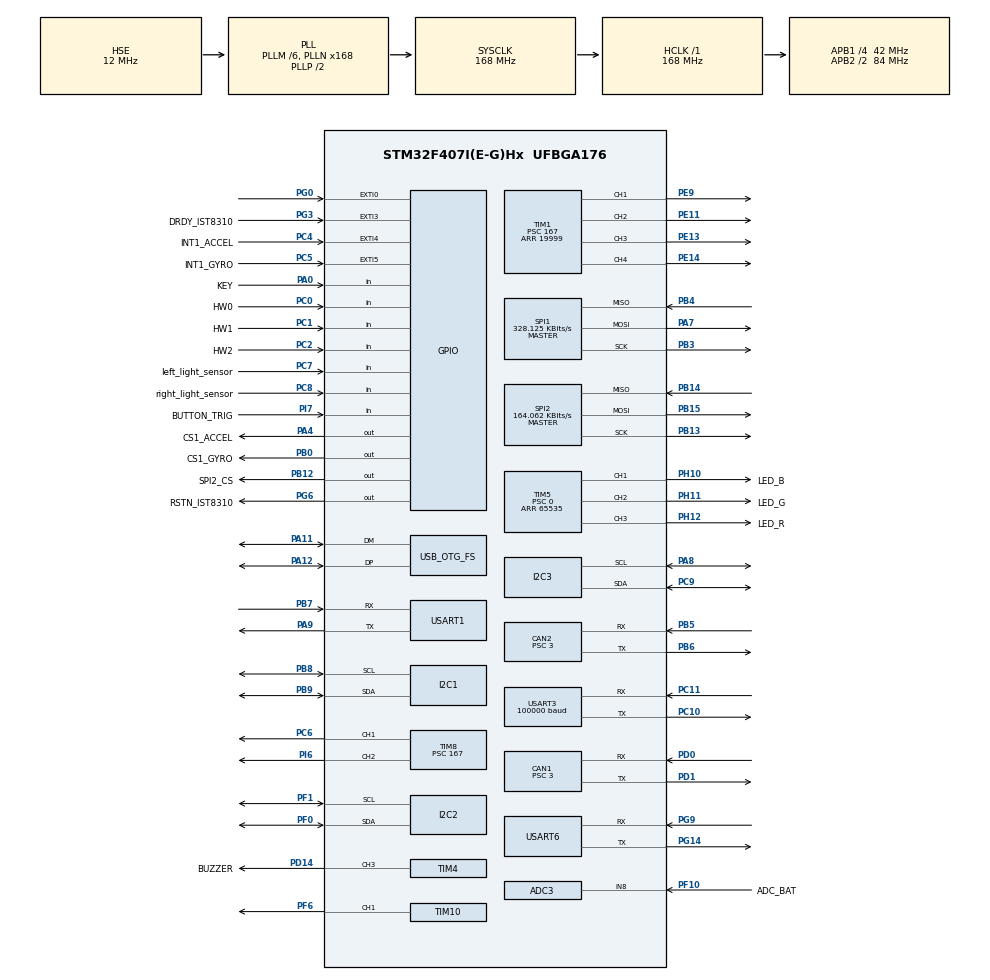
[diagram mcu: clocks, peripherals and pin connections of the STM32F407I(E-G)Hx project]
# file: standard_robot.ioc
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ADC1.Channel-0\#ChannelRegularConversion=ADC_CHANNEL_TEMPSENSOR
ADC1.ClockPrescaler=ADC_CLOCK_SYNC_PCLK_DIV6
ADC1.NbrOfConversionFlag=1
ADC1.Rank-0\#ChannelRegularConversion=1
ADC1.SamplingTime-0\#ChannelRegularConversion=ADC_SAMPLETIME_3CYCLES
ADC1.master=1
ADC3.Channel-0\#ChannelRegularConversion=ADC_CHANNEL_8
ADC3.ClockPrescaler=ADC_CLOCK_SYNC_PCLK_DIV6
ADC3.NbrOfConversionFlag=1
ADC3.Rank-0\#ChannelRegularConversion=1
ADC3.SamplingTime-0\#ChannelRegularConversion=ADC_SAMPLETIME_3CYCLES
CAN1.BS1=CAN_BS1_10TQ
CAN1.BS2=CAN_BS2_3TQ
CAN1.CalculateTimeQuantum=71.42857142857143
CAN1.Prescaler=3
CAN2.BS1=CAN_BS1_10TQ
CAN2.BS2=CAN_BS2_3TQ
CAN2.CalculateTimeQuantum=71.42857142857143
CAN2.Prescaler=3
Dma.I2C2_TX.2.Direction=DMA_MEMORY_TO_PERIPH
Dma.I2C2_TX.2.FIFOMode=DMA_FIFOMODE_DISABLE
Dma.I2C2_TX.2.Instance=DMA1_Stream7
Dma.I2C2_TX.2.MemDataAlignment=DMA_MDATAALIGN_BYTE
Dma.I2C2_TX.2.MemInc=DMA_MINC_ENABLE
Dma.I2C2_TX.2.Mode=DMA_NORMAL
Dma.I2C2_TX.2.PeriphDataAlignment=DMA_PDATAALIGN_BYTE
Dma.I2C2_TX.2.PeriphInc=DMA_PINC_DISABLE
Dma.I2C2_TX.2.Priority=DMA_PRIORITY_HIGH
Dma.Request0=SPI1_RX
Dma.Request1=SPI1_TX
Dma.Request2=I2C2_TX
Dma.Request3=USART3_RX
Dma.Request4=USART6_RX
Dma.Request5=USART6_TX
Dma.Request6=USART1_TX
Dma.Request7=USART1_RX
Dma.SPI1_RX.0.Direction=DMA_PERIPH_TO_MEMORY
Dma.SPI1_RX.0.FIFOMode=DMA_FIFOMODE_DISABLE
Dma.SPI1_RX.0.Instance=DMA2_Stream2
Dma.SPI1_RX.0.MemDataAlignment=DMA_MDATAALIGN_BYTE
Dma.SPI1_RX.0.MemInc=DMA_MINC_ENABLE
Dma.SPI1_RX.0.Mode=DMA_NORMAL
Dma.SPI1_RX.0.PeriphDataAlignment=DMA_PDATAALIGN_BYTE
Dma.SPI1_RX.0.PeriphInc=DMA_PINC_DISABLE
Dma.SPI1_RX.0.Priority=DMA_PRIORITY_VERY_HIGH
Dma.SPI1_TX.1.Direction=DMA_MEMORY_TO_PERIPH
Dma.SPI1_TX.1.FIFOMode=DMA_FIFOMODE_DISABLE
Dma.SPI1_TX.1.Instance=DMA2_Stream3
Dma.SPI1_TX.1.MemDataAlignment=DMA_MDATAALIGN_BYTE
Dma.SPI1_TX.1.MemInc=DMA_MINC_ENABLE
Dma.SPI1_TX.1.Mode=DMA_NORMAL
Dma.SPI1_TX.1.PeriphDataAlignment=DMA_PDATAALIGN_BYTE
Dma.SPI1_TX.1.PeriphInc=DMA_PINC_DISABLE
Dma.SPI1_TX.1.Priority=DMA_PRIORITY_HIGH
Dma.USART1_RX.7.Direction=DMA_PERIPH_TO_MEMORY
Dma.USART1_RX.7.FIFOMode=DMA_FIFOMODE_DISABLE
Dma.USART1_RX.7.Instance=DMA2_Stream5
Dma.USART1_RX.7.MemDataAlignment=DMA_MDATAALIGN_BYTE
Dma.USART1_RX.7.MemInc=DMA_MINC_ENABLE
Dma.USART1_RX.7.Mode=DMA_NORMAL
Dma.USART1_RX.7.PeriphDataAlignment=DMA_PDATAALIGN_BYTE
Dma.USART1_RX.7.PeriphInc=DMA_PINC_DISABLE
Dma.USART1_RX.7.Priority=DMA_PRIORITY_VERY_HIGH
Dma.USART1_TX.6.Direction=DMA_MEMORY_TO_PERIPH
Dma.USART1_TX.6.FIFOMode=DMA_FIFOMODE_DISABLE
Dma.USART1_TX.6.Instance=DMA2_Stream7
Dma.USART1_TX.6.MemDataAlignment=DMA_MDATAALIGN_BYTE
Dma.USART1_TX.6.MemInc=DMA_MINC_ENABLE
Dma.USART1_TX.6.Mode=DMA_NORMAL
Dma.USART1_TX.6.PeriphDataAlignment=DMA_PDATAALIGN_BYTE
Dma.USART1_TX.6.PeriphInc=DMA_PINC_DISABLE
Dma.USART1_TX.6.Priority=DMA_PRIORITY_MEDIUM
Dma.USART3_RX.3.Direction=DMA_PERIPH_TO_MEMORY
Dma.USART3_RX.3.FIFOMode=DMA_FIFOMODE_DISABLE
Dma.USART3_RX.3.Instance=DMA1_Stream1
Dma.USART3_RX.3.MemDataAlignment=DMA_MDATAALIGN_BYTE
Dma.USART3_RX.3.MemInc=DMA_MINC_ENABLE
Dma.USART3_RX.3.Mode=DMA_NORMAL
Dma.USART3_RX.3.PeriphDataAlignment=DMA_PDATAALIGN_BYTE
Dma.USART3_RX.3.PeriphInc=DMA_PINC_DISABLE
Dma.USART3_RX.3.Priority=DMA_PRIORITY_HIGH
Dma.USART6_RX.4.Direction=DMA_PERIPH_TO_MEMORY
Dma.USART6_RX.4.FIFOMode=DMA_FIFOMODE_DISABLE
Dma.USART6_RX.4.Instance=DMA2_Stream1
Dma.USART6_RX.4.MemDataAlignment=DMA_MDATAALIGN_BYTE
Dma.USART6_RX.4.MemInc=DMA_MINC_ENABLE
Dma.USART6_RX.4.Mode=DMA_NORMAL
Dma.USART6_RX.4.PeriphDataAlignment=DMA_PDATAALIGN_BYTE
Dma.USART6_RX.4.PeriphInc=DMA_PINC_DISABLE
Dma.USART6_RX.4.Priority=DMA_PRIORITY_HIGH
Dma.USART6_TX.5.Direction=DMA_MEMORY_TO_PERIPH
Dma.USART6_TX.5.FIFOMode=DMA_FIFOMODE_DISABLE
Dma.USART6_TX.5.Instance=DMA2_Stream6
Dma.USART6_TX.5.MemDataAlignment=DMA_MDATAALIGN_BYTE
Dma.USART6_TX.5.MemInc=DMA_MINC_ENABLE
Dma.USART6_TX.5.Mode=DMA_NORMAL
Dma.USART6_TX.5.PeriphDataAlignment=DMA_PDATAALIGN_BYTE
Dma.USART6_TX.5.PeriphInc=DMA_PINC_DISABLE
Dma.USART6_TX.5.Priority=DMA_PRIORITY_MEDIUM
FREERTOS.INCLUDE_eTaskGetState=1
FREERTOS.INCLUDE_pcTaskGetTaskName=1
FREERTOS.INCLUDE_uxTaskGetStackHighWaterMark=1
FREERTOS.INCLUDE_vTaskCleanUpResources=1
FREERTOS.INCLUDE_vTaskDelayUntil=1
FREERTOS.INCLUDE_xEventGroupSetBitFromISR=1
FREERTOS.INCLUDE_xQueueGetMutexHolder=1
FREERTOS.INCLUDE_xSemaphoreGetMutexHolder=1
FREERTOS.INCLUDE_xTaskAbortDelay=1
FREERTOS.INCLUDE_xTaskGetCurrentTaskHandle=1
FREERTOS.INCLUDE_xTaskGetHandle=1
FREERTOS.INCLUDE_xTimerPendFunctionCall=1
FREERTOS.Tasks01=test,24,128,test_task,As weak,NULL,Dynamic,NULL,NULL
FREERTOS.configTOTAL_HEAP_SIZE=24576
I2C1.I2C_Mode=I2C_Fast
I2C2.I2C_Mode=I2C_Fast
I2C3.I2C_Mode=I2C_Fast
Mcu.Family=STM32F4
Mcu.Name=STM32F407I(E-G)Hx
Mcu.Package=UFBGA176
NVIC.CAN1_RX0_IRQn=true\:6\:0\:true\:false\:true\:true\:true\:true
NVIC.CAN2_RX0_IRQn=true\:6\:0\:true\:false\:true\:true\:true\:true
NVIC.DMA1_Stream1_IRQn=true\:5\:0\:true\:false\:false\:true\:false\:false
NVIC.DMA1_Stream7_IRQn=true\:5\:0\:true\:false\:false\:true\:false\:true
NVIC.DMA2_Stream1_IRQn=true\:5\:0\:true\:false\:true\:true\:false\:true
NVIC.DMA2_Stream2_IRQn=true\:5\:0\:true\:false\:false\:true\:false\:true
NVIC.DMA2_Stream3_IRQn=true\:5\:0\:true\:false\:false\:true\:false\:true
NVIC.DMA2_Stream5_IRQn=true\:5\:0\:false\:false\:true\:true\:false\:true
NVIC.DMA2_Stream6_IRQn=true\:5\:0\:true\:false\:true\:true\:false\:true
NVIC.DMA2_Stream7_IRQn=true\:5\:0\:true\:false\:true\:true\:false\:true
NVIC.EXTI0_IRQn=true\:6\:0\:true\:false\:true\:true\:true\:true
NVIC.EXTI3_IRQn=true\:5\:0\:true\:false\:true\:true\:true\:true
NVIC.EXTI4_IRQn=true\:5\:0\:true\:false\:true\:true\:true\:true
NVIC.EXTI9_5_IRQn=true\:5\:0\:true\:false\:true\:true\:true\:true
NVIC.OTG_FS_IRQn=true\:5\:0\:false\:false\:true\:true\:false\:true
NVIC.PriorityGroup=NVIC_PRIORITYGROUP_4
NVIC.USART1_IRQn=true\:5\:0\:false\:false\:true\:true\:true\:true
NVIC.USART3_IRQn=true\:4\:0\:true\:false\:false\:false\:true\:true
NVIC.USART6_IRQn=true\:5\:0\:true\:false\:false\:true\:true\:true
PA0-WKUP.GPIO_Label=KEY
PA0-WKUP.GPIO_PuPd=GPIO_PULLUP
PA0-WKUP.Signal=GPIO_Input
PA11.Mode=Device_Only
PA11.Signal=USB_OTG_FS_DM
PA12.Mode=Device_Only
PA12.Signal=USB_OTG_FS_DP
PA13.Mode=Serial_Wire
PA13.Signal=SYS_JTMS-SWDIO
PA14.Mode=Serial_Wire
PA14.Signal=SYS_JTCK-SWCLK
PA4.GPIO_Label=CS1_ACCEL
PA4.GPIO_PuPd=GPIO_PULLUP
PA4.GPIO_Speed=GPIO_SPEED_FREQ_HIGH
PA4.PinState=GPIO_PIN_SET
PA4.Signal=GPIO_Output
PA7.GPIO_PuPd=GPIO_PULLUP
PA7.Mode=Full_Duplex_Master
PA7.Signal=SPI1_MOSI
PA8.Mode=I2C
PA8.Signal=I2C3_SCL
PA9.Mode=Asynchronous
PA9.Signal=USART1_TX
PB0.GPIO_Label=CS1_GYRO
PB0.GPIO_PuPd=GPIO_PULLUP
PB0.GPIO_Speed=GPIO_SPEED_FREQ_HIGH
PB0.PinState=GPIO_PIN_SET
PB0.Signal=GPIO_Output
PB12.GPIO_Label=SPI2_CS
PB12.GPIO_PuPd=GPIO_PULLUP
PB12.GPIO_Speed=GPIO_SPEED_FREQ_MEDIUM
PB12.PinState=GPIO_PIN_SET
PB12.Signal=GPIO_Output
PB13.GPIO_PuPd=GPIO_PULLUP
PB13.Mode=Full_Duplex_Master
PB13.Signal=SPI2_SCK
PB14.GPIO_PuPd=GPIO_PULLUP
PB14.Mode=Full_Duplex_Master
PB14.Signal=SPI2_MISO
PB15.GPIO_PuPd=GPIO_PULLUP
PB15.Mode=Full_Duplex_Master
PB15.Signal=SPI2_MOSI
PB3.GPIO_PuPd=GPIO_PULLUP
PB3.Mode=Full_Duplex_Master
PB3.Signal=SPI1_SCK
PB4.GPIO_PuPd=GPIO_PULLUP
PB4.Mode=Full_Duplex_Master
PB4.Signal=SPI1_MISO
PB5.Mode=Slave
PB5.Signal=CAN2_RX
PB6.Mode=Slave
PB6.Signal=CAN2_TX
PB7.Mode=Asynchronous
PB7.Signal=USART1_RX
PB8.Mode=I2C
PB8.Signal=I2C1_SCL
PB9.Mode=I2C
PB9.Signal=I2C1_SDA
PC0.GPIO_Label=HW0
PC0.Signal=GPIO_Input
PC1.GPIO_Label=HW1
PC1.Signal=GPIO_Input
PC10.Mode=Asynchronous
PC10.Signal=USART3_TX
PC11.Mode=Asynchronous
PC11.Signal=USART3_RX
PC2.GPIO_Label=HW2
PC2.Signal=GPIO_Input
PC4.GPIO_Label=INT1_ACCEL
PC4.GPIO_ModeDefaultEXTI=GPIO_MODE_IT_FALLING
PC4.GPIO_PuPd=GPIO_PULLUP
PC4.Signal=GPXTI4
PC5.GPIO_Label=INT1_GYRO
PC5.GPIO_ModeDefaultEXTI=GPIO_MODE_IT_FALLING
PC5.GPIO_PuPd=GPIO_PULLUP
PC5.Signal=GPXTI5
PC6.GPIO_PuPd=GPIO_PULLUP
PC6.GPIO_Speed=GPIO_SPEED_FREQ_HIGH
PC6.Signal=S_TIM8_CH1
PC7.GPIO_Label=left_light_sensor
PC7.Signal=GPIO_Input
PC8.GPIO_Label=right_light_sensor
PC8.Signal=GPIO_Input
PC9.Mode=I2C
PC9.Signal=I2C3_SDA
PD0.Mode=Master
PD0.Signal=CAN1_RX
PD1.Mode=Master
PD1.Signal=CAN1_TX
PD14.GPIO_Label=BUZZER
PD14.GPIO_PuPd=GPIO_PULLUP
PD14.GPIO_Speed=GPIO_SPEED_FREQ_VERY_HIGH
PD14.Signal=S_TIM4_CH3
PE11.GPIO_PuPd=GPIO_PULLUP
PE11.GPIO_Speed=GPIO_SPEED_FREQ_HIGH
PE11.Signal=S_TIM1_CH2
PE13.GPIO_PuPd=GPIO_PULLUP
PE13.GPIO_Speed=GPIO_SPEED_FREQ_HIGH
PE13.Signal=S_TIM1_CH3
PE14.GPIO_PuPd=GPIO_PULLUP
PE14.GPIO_Speed=GPIO_SPEED_FREQ_HIGH
PE14.Signal=S_TIM1_CH4
PE9.GPIO_PuPd=GPIO_PULLUP
PE9.GPIO_Speed=GPIO_SPEED_FREQ_HIGH
PE9.Signal=S_TIM1_CH1
PF0.Mode=I2C
PF0.Signal=I2C2_SDA
PF1.Mode=I2C
PF1.Signal=I2C2_SCL
PF10.GPIO_Label=ADC_BAT
PF10.Mode=IN8
PF10.Signal=ADC3_IN8
PF6.GPIO_PuPd=GPIO_PULLUP
PF6.GPIO_Speed=GPIO_SPEED_FREQ_HIGH
PF6.Signal=S_TIM10_CH1
PG0.GPIO_ModeDefaultEXTI=GPIO_MODE_IT_FALLING
PG0.GPIO_PuPd=GPIO_PULLUP
PG0.Signal=GPXTI0
PG14.Mode=Asynchronous
PG14.Signal=USART6_TX
PG3.GPIO_Label=DRDY_IST8310
PG3.GPIO_ModeDefaultEXTI=GPIO_MODE_IT_FALLING
PG3.GPIO_PuPd=GPIO_PULLUP
PG3.Signal=GPXTI3
PG6.GPIO_Label=RSTN_IST8310
PG6.GPIO_PuPd=GPIO_PULLUP
PG6.GPIO_Speed=GPIO_SPEED_FREQ_MEDIUM
PG6.PinState=GPIO_PIN_SET
PG6.Signal=GPIO_Output
PG9.Mode=Asynchronous
PG9.Signal=USART6_RX
PH0-OSC_IN.Mode=HSE-External-Oscillator
PH0-OSC_IN.Signal=RCC_OSC_IN
PH1-OSC_OUT.Mode=HSE-External-Oscillator
PH1-OSC_OUT.Signal=RCC_OSC_OUT
PH10.GPIO_Label=LED_B
PH10.GPIO_PuPd=GPIO_PULLUP
PH10.GPIO_Speed=GPIO_SPEED_FREQ_HIGH
PH10.Signal=S_TIM5_CH1
PH11.GPIO_Label=LED_G
PH11.GPIO_PuPd=GPIO_PULLUP
PH11.GPIO_Speed=GPIO_SPEED_FREQ_HIGH
PH11.Signal=S_TIM5_CH2
PH12.GPIO_Label=LED_R
PH12.GPIO_PuPd=GPIO_PULLUP
PH12.GPIO_Speed=GPIO_SPEED_FREQ_HIGH
PH12.Signal=S_TIM5_CH3
PI6.GPIO_PuPd=GPIO_PULLUP
PI6.GPIO_Speed=GPIO_SPEED_FREQ_HIGH
PI6.Signal=S_TIM8_CH2
PI7.GPIO_Label=BUTTON_TRIG
PI7.GPIO_PuPd=GPIO_PULLDOWN
PI7.Signal=GPIO_Input
ProjectManager.HeapSize=0x2000
ProjectManager.StackSize=0x2000
ProjectManager.TargetToolchain=MDK-ARM V5
RCC.48MHZClocksFreq_Value=48000000
RCC.AHBFreq_Value=168000000
RCC.APB1CLKDivider=RCC_HCLK_DIV4
RCC.APB1Freq_Value=42000000
RCC.APB1TimFreq_Value=84000000
RCC.APB2CLKDivider=RCC_HCLK_DIV2
RCC.APB2Freq_Value=84000000
RCC.APB2TimFreq_Value=168000000
RCC.CortexFreq_Value=168000000
RCC.HCLKFreq_Value=168000000
RCC.HSE_VALUE=12000000
RCC.HSI_VALUE=16000000
RCC.LSE_VALUE=32768
RCC.PLLM=6
RCC.PLLN=168
RCC.PLLQ=7
RCC.RCC_RTC_Clock_SourceVirtual=RCC_RTCCLKSOURCE_HSE_DIV30
RCC.RCC_RTC_Clock_Source_FROM_HSE=RCC_RTCCLKSOURCE_HSE_DIV30
RCC.SYSCLKFreq_VALUE=168000000
RCC.SYSCLKSource=RCC_SYSCLKSOURCE_PLLCLK
RCC.VCOOutputFreq_Value=336000000
RTC.AsynchPrediv=124
RTC.SynchPrediv=3199
SH.S_TIM10_CH1.0=TIM10_CH1,PWM Generation1 CH1
SH.S_TIM1_CH1.0=TIM1_CH1,PWM Generation1 CH1
SH.S_TIM1_CH2.0=TIM1_CH2,PWM Generation2 CH2
SH.S_TIM1_CH3.0=TIM1_CH3,PWM Generation3 CH3
SH.S_TIM1_CH4.0=TIM1_CH4,PWM Generation4 CH4
SH.S_TIM4_CH3.0=TIM4_CH3,PWM Generation3 CH3
SH.S_TIM5_CH1.0=TIM5_CH1,PWM Generation1 CH1
SH.S_TIM5_CH2.0=TIM5_CH2,PWM Generation2 CH2
SH.S_TIM5_CH3.0=TIM5_CH3,PWM Generation3 CH3
SH.S_TIM8_CH1.0=TIM8_CH1,PWM Generation1 CH1
SH.S_TIM8_CH2.0=TIM8_CH2,PWM Generation2 CH2
SPI1.BaudRatePrescaler=SPI_BAUDRATEPRESCALER_256
SPI1.CLKPhase=SPI_PHASE_2EDGE
SPI1.CLKPolarity=SPI_POLARITY_HIGH
SPI1.CalculateBaudRate=328.125 KBits/s
SPI1.Direction=SPI_DIRECTION_2LINES
SPI1.Mode=SPI_MODE_MASTER
SPI1.VirtualType=VM_MASTER
SPI2.BaudRatePrescaler=SPI_BAUDRATEPRESCALER_256
SPI2.CLKPhase=SPI_PHASE_2EDGE
SPI2.CLKPolarity=SPI_POLARITY_HIGH
SPI2.CalculateBaudRate=164.062 KBits/s
SPI2.Direction=SPI_DIRECTION_2LINES
SPI2.Mode=SPI_MODE_MASTER
SPI2.VirtualType=VM_MASTER
TIM1.Channel-PWM\ Generation1\ CH1=TIM_CHANNEL_1
TIM1.Channel-PWM\ Generation2\ CH2=TIM_CHANNEL_2
TIM1.Channel-PWM\ Generation3\ CH3=TIM_CHANNEL_3
TIM1.Channel-PWM\ Generation4\ CH4=TIM_CHANNEL_4
TIM1.Period=19999
TIM1.Prescaler=167
TIM1.Pulse-PWM\ Generation1\ CH1=1000
TIM1.Pulse-PWM\ Generation2\ CH2=1000
TIM1.Pulse-PWM\ Generation3\ CH3=1000
TIM1.Pulse-PWM\ Generation4\ CH4=1000
TIM10.Channel=TIM_CHANNEL_1
TIM10.Period=4999
TIM3.Period=8399
TIM4.Channel-PWM\ Generation3\ CH3=TIM_CHANNEL_3
TIM4.Period=65535
TIM4.Prescaler=167
TIM5.Channel-PWM\ Generation1\ CH1=TIM_CHANNEL_1
TIM5.Channel-PWM\ Generation2\ CH2=TIM_CHANNEL_2
TIM5.Channel-PWM\ Generation3\ CH3=TIM_CHANNEL_3
TIM5.Period=65535
TIM5.Prescaler=0
TIM8.Channel-PWM\ Generation1\ CH1=TIM_CHANNEL_1
TIM8.Channel-PWM\ Generation2\ CH2=TIM_CHANNEL_2
TIM8.Period=19999
TIM8.Prescaler=167
TIM8.Pulse-PWM\ Generation1\ CH1=1000
TIM8.Pulse-PWM\ Generation2\ CH2=1000
USART1.VirtualMode=VM_ASYNC
USART3.BaudRate=100000
USART3.Parity=PARITY_EVEN
USART3.VirtualMode=VM_ASYNC
USART6.VirtualMode=VM_ASYNC
USB_DEVICE.CLASS_NAME_FS=CDC
USB_DEVICE.VirtualMode-CDC_FS=Cdc
USB_DEVICE.VirtualModeFS=Cdc_FS
USB_OTG_FS.VirtualMode=Device_Only
VP_ADC1_TempSens_Input.Mode=IN-TempSens
VP_ADC1_Vref_Input.Mode=IN-Vrefint
VP_CRC_VS_CRC.Mode=CRC_Activate
VP_FREERTOS_VS_CMSIS_V1.Mode=CMSIS_V1
VP_RNG_VS_RNG.Mode=RNG_Activate
VP_RTC_VS_RTC_Activate.Mode=RTC_Enabled
VP_TIM10_VS_ClockSourceINT.Mode=Enable_Timer
VP_TIM1_VS_ClockSourceINT.Mode=Internal
VP_TIM3_VS_ClockSourceINT.Mode=Internal
VP_TIM4_VS_ClockSourceINT.Mode=Internal
VP_TIM5_VS_ClockSourceINT.Mode=Internal
VP_TIM8_VS_ClockSourceINT.Mode=Internal
VP_USB_DEVICE_VS_USB_DEVICE_CDC_FS.Mode=CDC_FS
board=custom

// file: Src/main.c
/* USER CODE BEGIN Header */
/**
  ******************************************************************************
  * @file           : main.c
  * @brief          : Main program body
  ******************************************************************************
  * @attention
  *
  * <h2><center>&copy; Copyright (c) 2019 STMicroelectronics.
  * All rights reserved.</center></h2>
  *
  * This software component is licensed by ST under Ultimate Liberty license
  * SLA0044, the "License"; You may not use this file except in compliance with
  * the License. You may obtain a copy of the License at:
  *                             www.st.com/SLA0044
  *
  ******************************************************************************
  */
/* USER CODE END Header */

#include "main.h"
#include "cmsis_os.h"
#include "adc.h"
#include "can.h"
#include "crc.h"
#include "dma.h"
#include "i2c.h"
#include "rng.h"
#include "rtc.h"
#include "spi.h"
#include "tim.h"
#include "usart.h"
#include "usb_device.h"
#include "gpio.h"

/* USER CODE BEGIN Includes */
#include "bsp_can.h"
#include "bsp_delay.h"
#include "bsp_usart.h"
#include "remote_control.h"
#include "vision.h"

#include "calibrate_task.h"
#include "chassis_task.h"
#include "detect_task.h"
#include "gimbal_task.h"
#include "INS_task.h"
#include "led_flow_task.h"
#include "oled_task.h"
#include "referee_usart_task.h"
#include "usb_task.h"
#include "voltage_task.h"
/* USER CODE END Includes */

void SystemClock_Config(void);
void MX_FREERTOS_Init(void);

int main(void)
{
  /* USER CODE BEGIN 1 *

  /* USER CODE END 1 */

  /* MCU Configuration--------------------------------------------------------*/

  /* Reset of all peripherals, Initializes the Flash interface and the Systick. */
  HAL_Init();

  /* Configure the system clock */
  SystemClock_Config();

  /* Initialize all configured peripherals */
  MX_GPIO_Init();
  MX_DMA_Init();
  MX_ADC1_Init();
  MX_ADC3_Init();
  MX_CAN1_Init();
  MX_CAN2_Init();
  MX_I2C1_Init();
  MX_SPI1_Init();
  MX_TIM4_Init();
  MX_TIM5_Init();
  MX_USART3_UART_Init();
  MX_TIM8_Init();
  MX_CRC_Init();
  MX_RNG_Init();
  MX_I2C2_Init();
  MX_I2C3_Init();
  MX_RTC_Init();
  MX_SPI2_Init();
  MX_TIM1_Init();
  MX_TIM3_Init();
  MX_TIM10_Init();
  MX_USART1_UART_Init();
  MX_USART6_UART_Init();
  /* USER CODE BEGIN 2 */
    can_filter_init();
    delay_init();
    cali_param_init();
    remote_control_init();
    usart1_tx_dma_init();
    vision_init();
  /* USER CODE END 2 */

  /* Call init function for freertos objects (in freertos.c) */
  MX_FREERTOS_Init();

  /* Start scheduler */
  osKernelStart();

  /* We should never get here as control is now taken by the scheduler */

  /* Infinite loop */
  while (1)
  {

  }
}

void SystemClock_Config(void)
{
  RCC_OscInitTypeDef RCC_OscInitStruct = {0};
  RCC_ClkInitTypeDef RCC_ClkInitStruct = {0};
  RCC_PeriphCLKInitTypeDef PeriphClkInitStruct = {0};

  /** Configure the main internal regulator output voltage
  */
  __HAL_RCC_PWR_CLK_ENABLE();
  __HAL_PWR_VOLTAGESCALING_CONFIG(PWR_REGULATOR_VOLTAGE_SCALE1);
  /** Initializes the CPU, AHB and APB busses clocks
  */
  RCC_OscInitStruct.OscillatorType = RCC_OSCILLATORTYPE_HSE;
  RCC_OscInitStruct.HSEState = RCC_HSE_ON;
  RCC_OscInitStruct.PLL.PLLState = RCC_PLL_ON;
  RCC_OscInitStruct.PLL.PLLSource = RCC_PLLSOURCE_HSE;
  RCC_OscInitStruct.PLL.PLLM = 6;
  RCC_OscInitStruct.PLL.PLLN = 168;
  RCC_OscInitStruct.PLL.PLLP = RCC_PLLP_DIV2;
  RCC_OscInitStruct.PLL.PLLQ = 7;
  if (HAL_RCC_OscConfig(&RCC_OscInitStruct) != HAL_OK)
  {
    Error_Handler();
  }
  /** Initializes the CPU, AHB and APB busses clocks
  */
  RCC_ClkInitStruct.ClockType = RCC_CLOCKTYPE_HCLK|RCC_CLOCKTYPE_SYSCLK
                              |RCC_CLOCKTYPE_PCLK1|RCC_CLOCKTYPE_PCLK2;
  RCC_ClkInitStruct.SYSCLKSource = RCC_SYSCLKSOURCE_PLLCLK;
  RCC_ClkInitStruct.AHBCLKDivider = RCC_SYSCLK_DIV1;
  RCC_ClkInitStruct.APB1CLKDivider = RCC_HCLK_DIV4;
  RCC_ClkInitStruct.APB2CLKDivider = RCC_HCLK_DIV2;

  if (HAL_RCC_ClockConfig(&RCC_ClkInitStruct, FLASH_LATENCY_5) != HAL_OK)
  {
    Error_Handler();
  }
  PeriphClkInitStruct.PeriphClockSelection = RCC_PERIPHCLK_RTC;
  PeriphClkInitStruct.RTCClockSelection = RCC_RTCCLKSOURCE_HSE_DIV30;
  if (HAL_RCCEx_PeriphCLKConfig(&PeriphClkInitStruct) != HAL_OK)
  {
    Error_Handler();
  }
}

void Error_Handler(void)
{
}

/************************ (C) COPYRIGHT STMicroelectronics *****END OF FILE****/

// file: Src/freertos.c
/* USER CODE BEGIN Header */
/**
  ******************************************************************************
  * File Name          : freertos.c
  * Description        : Code for freertos applications
  ******************************************************************************
  * @attention
  *
  * <h2><center>&copy; Copyright (c) 2019 STMicroelectronics.
  * All rights reserved.</center></h2>
  *
  * This software component is licensed by ST under Ultimate Liberty license
  * SLA0044, the "License"; You may not use this file except in compliance with
  * the License. You may obtain a copy of the License at:
  *                             www.st.com/SLA0044
  *
  ******************************************************************************
  */
/* USER CODE END Header */

#include "FreeRTOS.h"
#include "task.h"
#include "main.h"
#include "cmsis_os.h"

/* USER CODE BEGIN Includes */

#include "calibrate_task.h"
#include "chassis_task.h"
#include "detect_task.h"
#include "gimbal_task.h"
#include "INS_task.h"
#include "led_flow_task.h"
#include "oled_task.h"
#include "referee_usart_task.h"
#include "usb_task.h"
#include "voltage_task.h"
#include "servo_task.h"
#include "ui_task.h"
#include "software_reset_task.h"
#include "shoot_task.h"
/* USER CODE END Includes */

/* USER CODE BEGIN PTD */

osThreadId calibrate_tast_handle;
osThreadId chassisTaskHandle;
osThreadId detect_handle;
osThreadId gimbalTaskHandle;
osThreadId imuTaskHandle;
osThreadId led_RGB_flow_handle;
osThreadId oled_handle;
osThreadId referee_usart_task_handle;
osThreadId usb_task_handle;
osThreadId battery_voltage_handle;
osThreadId servo_task_handle;
osThreadId ui_task_handle;
osThreadId super_cap_task_handle;
osThreadId software_reset_task_handle;
osThreadId shoot_task_handle;

/* USER CODE END PTD */

osThreadId testHandle;

void test_task(void const * argument);

extern void MX_USB_DEVICE_Init(void);
void MX_FREERTOS_Init(void); /* (MISRA C 2004 rule 8.1) */

/* GetIdleTaskMemory prototype (linked to static allocation support) */
void vApplicationGetIdleTaskMemory( StaticTask_t **ppxIdleTaskTCBBuffer, StackType_t **ppxIdleTaskStackBuffer, uint32_t *pulIdleTaskStackSize );

/* GetTimerTaskMemory prototype (linked to static allocation support) */
void vApplicationGetTimerTaskMemory( StaticTask_t **ppxTimerTaskTCBBuffer, StackType_t **ppxTimerTaskStackBuffer, uint32_t *pulTimerTaskStackSize );

/* USER CODE BEGIN GET_IDLE_TASK_MEMORY */
static StaticTask_t xIdleTaskTCBBuffer;
static StackType_t xIdleStack[configMINIMAL_STACK_SIZE];

void vApplicationGetIdleTaskMemory( StaticTask_t **ppxIdleTaskTCBBuffer, StackType_t **ppxIdleTaskStackBuffer, uint32_t *pulIdleTaskStackSize )
{
  *ppxIdleTaskTCBBuffer = &xIdleTaskTCBBuffer;
  *ppxIdleTaskStackBuffer = &xIdleStack[0];
  *pulIdleTaskStackSize = configMINIMAL_STACK_SIZE;
  /* place for user code */
}
/* USER CODE END GET_IDLE_TASK_MEMORY */

/* USER CODE BEGIN GET_TIMER_TASK_MEMORY */
static StaticTask_t xTimerTaskTCBBuffer;
static StackType_t xTimerStack[configTIMER_TASK_STACK_DEPTH];

void vApplicationGetTimerTaskMemory( StaticTask_t **ppxTimerTaskTCBBuffer, StackType_t **ppxTimerTaskStackBuffer, uint32_t *pulTimerTaskStackSize )
{
  *ppxTimerTaskTCBBuffer = &xTimerTaskTCBBuffer;
  *ppxTimerTaskStackBuffer = &xTimerStack[0];
  *pulTimerTaskStackSize = configTIMER_TASK_STACK_DEPTH;
  /* place for user code */
}
/* USER CODE END GET_TIMER_TASK_MEMORY */

void MX_FREERTOS_Init(void) {

  /* Create the thread(s) */
  /* definition and creation of test */
  osThreadDef(test, test_task, osPriorityNormal, 0, 128);
  testHandle = osThreadCreate(osThread(test), NULL);

  /* USER CODE BEGIN RTOS_THREADS */
  /* add threads, ... */
    osThreadDef(cali, calibrate_task, osPriorityNormal, 0, 512);
    calibrate_tast_handle = osThreadCreate(osThread(cali), NULL);

//		osThreadDef(DETECT, detect_task, osPriorityNormal, 0, 256);
//		detect_handle = osThreadCreate(osThread(DETECT), NULL);

      osThreadDef(ChassisTask, chassis_task, osPriorityAboveNormal, 0, 512);
      chassisTaskHandle = osThreadCreate(osThread(ChassisTask), NULL);

    // osThreadDef(gimbalTask, gimbal_task, osPriorityHigh, 0, 512);
    // gimbalTaskHandle = osThreadCreate(osThread(gimbalTask), NULL);

    osThreadDef(ShootTask, shoot_task, osPriorityHigh, 0, 512);
    shoot_task_handle = osThreadCreate(osThread(ShootTask), NULL);

    osThreadDef(imuTask, INS_task, osPriorityRealtime, 0, 1024);
    imuTaskHandle = osThreadCreate(osThread(imuTask), NULL);

    osThreadDef(led, led_RGB_flow_task, osPriorityNormal, 0, 256);
    led_RGB_flow_handle = osThreadCreate(osThread(led), NULL);

    // osThreadDef(OLED, oled_task, osPriorityLow, 0, 256);
    // oled_handle = osThreadCreate(osThread(OLED), NULL);

    osThreadDef(REFEREE, referee_usart_task, osPriorityNormal, 0, 128);
    referee_usart_task_handle = osThreadCreate(osThread(REFEREE), NULL);

    // osThreadDef(USBTask, usb_task, osPriorityNormal, 0, 128);
    // usb_task_handle = osThreadCreate(osThread(USBTask), NULL);

    // osThreadDef(BATTERY_VOLTAGE, battery_voltage_task, osPriorityNormal, 0, 128);
    // battery_voltage_handle = osThreadCreate(osThread(BATTERY_VOLTAGE), NULL);

    // osThreadDef(SERVO, servo_task, osPriorityHigh, 0, 256);
    // servo_task_handle = osThreadCreate(osThread(SERVO), NULL);

    // osThreadDef(UI, ui_task, osPriorityNormal, 0, 512);
    // ui_task_handle = osThreadCreate(osThread(UI), NULL);

    // osThreadDef(SIPER_CAP, super_cap_task, osPriorityNormal, 0, 128);
    // super_cap_task_handle = osThreadCreate(osThread(SIPER_CAP), NULL);

    // osThreadDef(SOTFWARE_RESET, software_reset_task, osPriorityNormal, 0, 128);
    // software_reset_task_handle = osThreadCreate(osThread(SOTFWARE_RESET), NULL);

  /* USER CODE END RTOS_THREADS */

}

__weak void test_task(void const * argument)
{
  /* init code for USB_DEVICE */
  MX_USB_DEVICE_Init();

  for(;;)
  {
    osDelay(1);
  }
}

/************************ (C) COPYRIGHT STMicroelectronics *****END OF FILE****/
